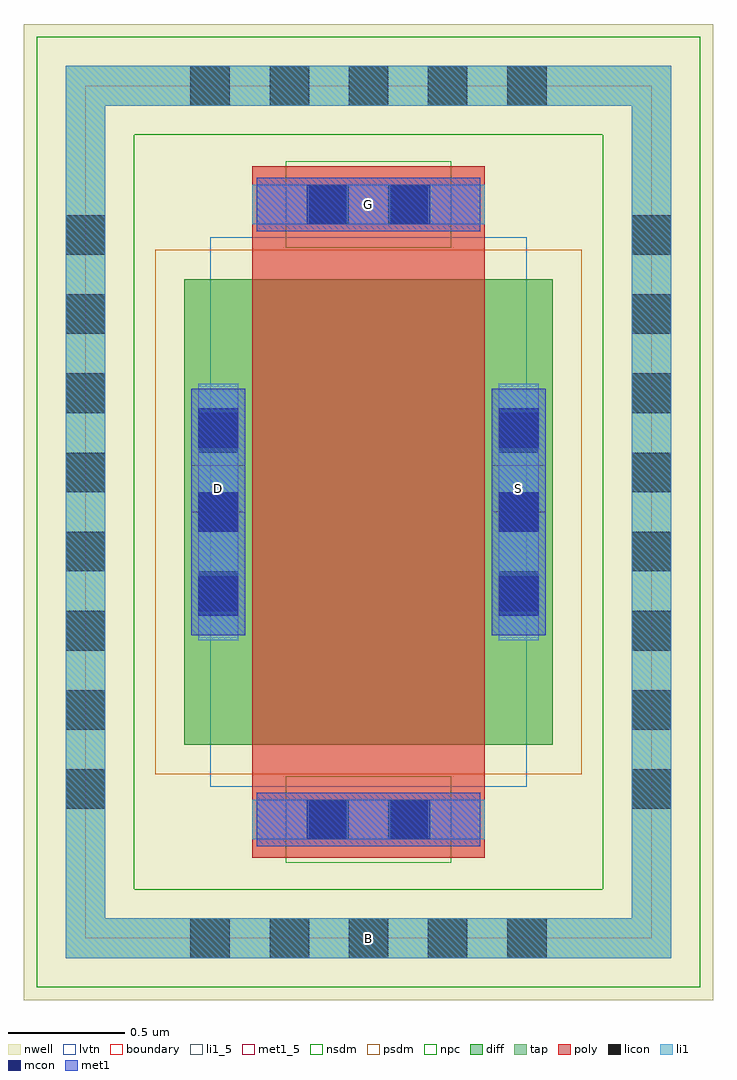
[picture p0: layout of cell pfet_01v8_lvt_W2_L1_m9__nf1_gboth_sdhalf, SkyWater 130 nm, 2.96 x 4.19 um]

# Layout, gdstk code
import gdstk
lib = gdstk.Library(unit=1e-6, precision=1e-09)
def R(c, l, rs):  # rectangles x0, y0, x1, y1
    for r in rs: c.add(gdstk.rectangle(r[:2], r[2:], *l))
def A(c, l, x, y, w, h, nx, ny, dx, dy):  # array of equal rectangles
    R(c, l, [(x+i*dx, y+j*dy, x+i*dx+w, y+j*dy+h) for i in range(nx) for j in range(ny)])
nwell = (64, 20)
diff = (65, 20)
tap = (65, 44)
poly = (66, 20)
licon = (66, 44)
li1_5 = (67, 5)
li1 = (67, 20)
mcon = (67, 44)
met1_5 = (68, 5)
met1 = (68, 20)
nsdm = (93, 44)
psdm = (94, 20)
npc = (95, 20)
lvtn = (125, 44)
boundary = (235, 4)

sky130_fd_pr__pfet_01v8_ = lib.new_cell('sky130_fd_pr__pfet_01v8_lvt_SZCAPV')
R(sky130_fd_pr__pfet_01v8_, nwell, [(-1.48,-2.095,1.48,2.095)])
R(sky130_fd_pr__pfet_01v8_, diff, [(-0.79,-1,0.79,1)])
R(sky130_fd_pr__pfet_01v8_, tap, [(-1.3,-1.915,1.3,-1.745), (-1.3,-1.745,-1.13,1.745), (1.13,-1.745,1.3,1.745), (-1.3,1.745,1.3,1.915)])
R(sky130_fd_pr__pfet_01v8_, poly, [(-0.5,-1.485,0.5,1.485)])
A(sky130_fd_pr__pfet_01v8_, licon, -0.765, -1.915, 0.17, 0.17, 5, 2, 0.34, 3.66)
A(sky130_fd_pr__pfet_01v8_, licon, -1.3, -1.275, 0.17, 0.17, 1, 8, 0, 0.34)
A(sky130_fd_pr__pfet_01v8_, licon, 1.13, -1.275, 0.17, 0.17, 1, 8, 0, 0.34)
A(sky130_fd_pr__pfet_01v8_, licon, -0.73, -0.425, 0.17, 0.17, 1, 3, 0, 0.34)
A(sky130_fd_pr__pfet_01v8_, licon, 0.56, -0.425, 0.17, 0.17, 1, 3, 0, 0.34)
R(sky130_fd_pr__pfet_01v8_, licon, [(-0.255,-1.405,-0.085,-1.235), (0.085,-1.405,0.255,-1.235), (-0.255,1.235,-0.085,1.405), (0.085,1.235,0.255,1.405)])
R(sky130_fd_pr__pfet_01v8_, li1, [(-1.3,-1.915,1.3,-1.745), (-1.3,-1.745,-1.13,1.745), (1.13,-1.745,1.3,1.745), (-0.5,-1.405,0.5,-1.235), (-0.73,-0.55,-0.56,0.55), (0.56,-0.55,0.73,0.55), (-0.5,1.235,0.5,1.405), (-1.3,1.745,1.3,1.915)])
A(sky130_fd_pr__pfet_01v8_, mcon, -0.73, -0.445, 0.17, 0.17, 1, 3, 0, 0.36)
A(sky130_fd_pr__pfet_01v8_, mcon, 0.56, -0.445, 0.17, 0.17, 1, 3, 0, 0.36)
R(sky130_fd_pr__pfet_01v8_, mcon, [(-0.265,-1.405,-0.095,-1.235), (0.095,-1.405,0.265,-1.235), (-0.265,1.235,-0.095,1.405), (0.095,1.235,0.265,1.405)])
R(sky130_fd_pr__pfet_01v8_, met1, [(-0.48,-1.435,0.48,-1.205), (-0.76,-0.53,-0.53,0.53), (0.53,-0.53,0.76,0.53), (-0.48,1.205,0.48,1.435)])
R(sky130_fd_pr__pfet_01v8_, nsdm, [(-1.425,-2.04,1.425,-1.62), (-1.425,-1.62,-1.005,1.62), (1.005,-1.62,1.425,1.62), (-1.425,1.62,1.425,2.04)])
R(sky130_fd_pr__pfet_01v8_, psdm, [(-0.915,-1.125,0.915,1.125)])
R(sky130_fd_pr__pfet_01v8_, npc, [(-0.355,-1.505,0.355,-1.135), (-0.355,1.135,0.355,1.505)])
R(sky130_fd_pr__pfet_01v8_, lvtn, [(-0.68,-1.18,0.68,1.18)])
R(sky130_fd_pr__pfet_01v8_, boundary, [(-1.215,-1.83,1.215,1.83)])
sky130_fd_pr__pfet_01v8_.add(gdstk.Label('B', (0,-1.83), layer=67, texttype=5))
sky130_fd_pr__pfet_01v8_.add(gdstk.Label('D', (-0.645,0), layer=67, texttype=5))
sky130_fd_pr__pfet_01v8_.add(gdstk.Label('S', (0.645,0), layer=67, texttype=5))
sky130_fd_pr__pfet_01v8_.add(gdstk.Label('G', (0,1.32), layer=67, texttype=5))

pfet_01v8_lvt_w2_l1_m9__ = lib.new_cell('pfet_01v8_lvt_W2_L1_m9__nf1_gboth_sdhalf')
R(pfet_01v8_lvt_w2_l1_m9__, li1_5, [(1.13,-0.085,1.3,0.085)])
R(pfet_01v8_lvt_w2_l1_m9__, li1, [(1.13,-0.085,1.3,0.085)])
R(pfet_01v8_lvt_w2_l1_m9__, met1_5, [(0.455,1.83,0.685,2.03), (1.745,1.83,1.975,2.03), (0.735,3.035,1.695,3.265)])
R(pfet_01v8_lvt_w2_l1_m9__, met1, [(0.455,1.83,0.685,2.03), (1.745,1.83,1.975,2.03), (0.735,3.035,1.695,3.265)])
pfet_01v8_lvt_w2_l1_m9__.add(gdstk.Reference(sky130_fd_pr__pfet_01v8_, (1.215,1.83)))
pfet_01v8_lvt_w2_l1_m9__.add(gdstk.Label('D', (0.57,1.93), layer=68, texttype=5))
pfet_01v8_lvt_w2_l1_m9__.add(gdstk.Label('S', (1.86,1.93), layer=68, texttype=5))
pfet_01v8_lvt_w2_l1_m9__.add(gdstk.Label('G', (1.215,3.15), layer=68, texttype=5))
pfet_01v8_lvt_w2_l1_m9__.add(gdstk.Label('B', (1.215,0), layer=67, texttype=5))

lib.write_gds('pfet_01v8_lvt_W2_L1_m9__nf1_gboth_sdhalf.gds')
